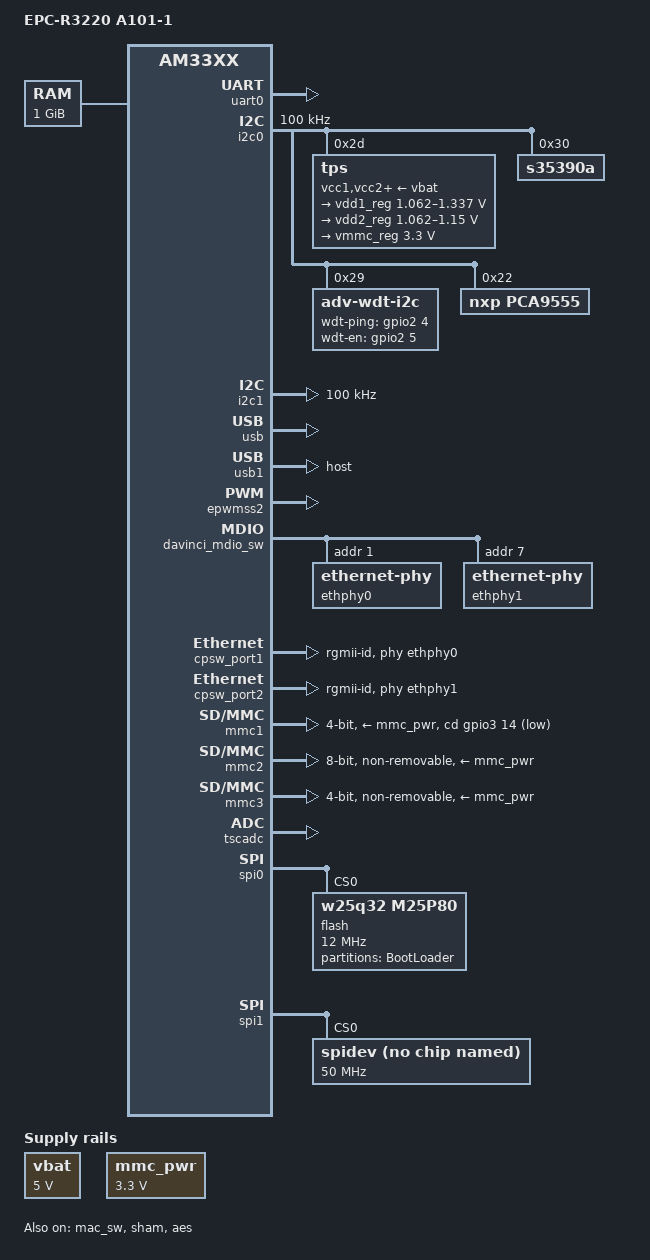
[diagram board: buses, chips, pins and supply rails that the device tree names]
// SPDX-License-Identifier: GPL-2.0-only
/* EPC-R3220 Based AM335x Starter Kit */

/dts-v1/;

#include "am33xx.dtsi"
#include <dt-bindings/pwm/pwm.h>
#include <dt-bindings/interrupt-controller/irq.h>

/ {
	model = "EPC-R3220 A101-1";
	compatible = "ti,am335x-evmsk", "ti,am33xx";

	cpus {
		cpu@0 {
			cpu0-supply = <&vdd1_reg>;
		};
	};

	memory@80000000 {
		device_type = "memory";
		reg = <0x80000000 0x40000000>; /*2 * 256 MB */
	};

	aliases {
		serial0 = &uart0;
	};

	chosen {
		stdout-path = &uart0;
	};

	vbat: fixedregulator0 {
		compatible = "regulator-fixed";
		regulator-name = "vbat";
		regulator-min-microvolt = <5000000>;
		regulator-max-microvolt = <5000000>;
		regulator-boot-on;
	};

	mmc_pwr: fixedregulator3 {
		compatible = "regulator-fixed";
		regulator-name = "mmc_pwr";
		regulator-min-microvolt = <3300000>;
		regulator-max-microvolt = <3300000>;
		regulator-always-on;
		regulator-boot-on;
	};
};

&am33xx_pinmux {
	pinctrl-names = "default";
	pinctrl-0 = <&wdt_pins_default>;

	lcd_pins_default: lcd_pins_default {
		pinctrl-single,pins = <
			AM33XX_PADCONF(AM335X_PIN_GPMC_AD8, PIN_OUTPUT, MUX_MODE1)	/* gpmc_ad8.lcd_data23 */
			AM33XX_PADCONF(AM335X_PIN_GPMC_AD9, PIN_OUTPUT, MUX_MODE1)	/* gpmc_ad9.lcd_data22 */
			AM33XX_PADCONF(AM335X_PIN_GPMC_AD10, PIN_OUTPUT, MUX_MODE1)	/* gpmc_ad10.lcd_data21 */
			AM33XX_PADCONF(AM335X_PIN_GPMC_AD11, PIN_OUTPUT, MUX_MODE1)	/* gpmc_ad11.lcd_data20 */
			AM33XX_PADCONF(AM335X_PIN_GPMC_AD12, PIN_OUTPUT, MUX_MODE1)	/* gpmc_ad12.lcd_data19 */
			AM33XX_PADCONF(AM335X_PIN_GPMC_AD13, PIN_OUTPUT, MUX_MODE1)	/* gpmc_ad13.lcd_data18 */
			AM33XX_PADCONF(AM335X_PIN_GPMC_AD14, PIN_OUTPUT, MUX_MODE1)	/* gpmc_ad14.lcd_data17 */
			AM33XX_PADCONF(AM335X_PIN_GPMC_AD15, PIN_OUTPUT, MUX_MODE1)	/* gpmc_ad15.lcd_data16 */
			AM33XX_PADCONF(AM335X_PIN_LCD_DATA0, PIN_OUTPUT, MUX_MODE0)
			AM33XX_PADCONF(AM335X_PIN_LCD_DATA1, PIN_OUTPUT, MUX_MODE0)
			AM33XX_PADCONF(AM335X_PIN_LCD_DATA2, PIN_OUTPUT, MUX_MODE0)
			AM33XX_PADCONF(AM335X_PIN_LCD_DATA3, PIN_OUTPUT, MUX_MODE0)
			AM33XX_PADCONF(AM335X_PIN_LCD_DATA4, PIN_OUTPUT, MUX_MODE0)
			AM33XX_PADCONF(AM335X_PIN_LCD_DATA5, PIN_OUTPUT, MUX_MODE0)
			AM33XX_PADCONF(AM335X_PIN_LCD_DATA6, PIN_OUTPUT, MUX_MODE0)
			AM33XX_PADCONF(AM335X_PIN_LCD_DATA7, PIN_OUTPUT, MUX_MODE0)
			AM33XX_PADCONF(AM335X_PIN_LCD_DATA8, PIN_OUTPUT, MUX_MODE0)
			AM33XX_PADCONF(AM335X_PIN_LCD_DATA9, PIN_OUTPUT, MUX_MODE0)
			AM33XX_PADCONF(AM335X_PIN_LCD_DATA10, PIN_OUTPUT, MUX_MODE0)
			AM33XX_PADCONF(AM335X_PIN_LCD_DATA11, PIN_OUTPUT, MUX_MODE0)
			AM33XX_PADCONF(AM335X_PIN_LCD_DATA12, PIN_OUTPUT, MUX_MODE0)
			AM33XX_PADCONF(AM335X_PIN_LCD_DATA13, PIN_OUTPUT, MUX_MODE0)
			AM33XX_PADCONF(AM335X_PIN_LCD_DATA14, PIN_OUTPUT, MUX_MODE0)
			AM33XX_PADCONF(AM335X_PIN_LCD_DATA15, PIN_OUTPUT, MUX_MODE0)
			AM33XX_PADCONF(AM335X_PIN_LCD_VSYNC, PIN_OUTPUT, MUX_MODE0)
			AM33XX_PADCONF(AM335X_PIN_LCD_HSYNC, PIN_OUTPUT, MUX_MODE0)
			AM33XX_PADCONF(AM335X_PIN_LCD_PCLK, PIN_OUTPUT, MUX_MODE0)
			AM33XX_PADCONF(AM335X_PIN_LCD_AC_BIAS_EN, PIN_OUTPUT, MUX_MODE0)
		>;
	};

	lcd_pins_sleep: lcd_pins_sleep {
		pinctrl-single,pins = <
			AM33XX_PADCONF(AM335X_PIN_GPMC_AD8, PIN_INPUT_PULLDOWN, MUX_MODE7)	/* gpmc_ad8.lcd_data23 */
			AM33XX_PADCONF(AM335X_PIN_GPMC_AD9, PIN_INPUT_PULLDOWN, MUX_MODE7)	/* gpmc_ad9.lcd_data22 */
			AM33XX_PADCONF(AM335X_PIN_GPMC_AD10, PIN_INPUT_PULLDOWN, MUX_MODE7)	/* gpmc_ad10.lcd_data21 */
			AM33XX_PADCONF(AM335X_PIN_GPMC_AD11, PIN_INPUT_PULLDOWN, MUX_MODE7)	/* gpmc_ad11.lcd_data20 */
			AM33XX_PADCONF(AM335X_PIN_GPMC_AD12, PIN_INPUT_PULLDOWN, MUX_MODE7)	/* gpmc_ad12.lcd_data19 */
			AM33XX_PADCONF(AM335X_PIN_GPMC_AD13, PIN_INPUT_PULLDOWN, MUX_MODE7)	/* gpmc_ad13.lcd_data18 */
			AM33XX_PADCONF(AM335X_PIN_GPMC_AD14, PIN_INPUT_PULLDOWN, MUX_MODE7)	/* gpmc_ad14.lcd_data17 */
			AM33XX_PADCONF(AM335X_PIN_GPMC_AD15, PIN_INPUT_PULLDOWN, MUX_MODE7)	/* gpmc_ad15.lcd_data16 */
			AM33XX_PADCONF(AM335X_PIN_LCD_DATA0, PULL_DISABLE, MUX_MODE7)
			AM33XX_PADCONF(AM335X_PIN_LCD_DATA1, PULL_DISABLE, MUX_MODE7)
			AM33XX_PADCONF(AM335X_PIN_LCD_DATA2, PULL_DISABLE, MUX_MODE7)
			AM33XX_PADCONF(AM335X_PIN_LCD_DATA3, PULL_DISABLE, MUX_MODE7)
			AM33XX_PADCONF(AM335X_PIN_LCD_DATA4, PULL_DISABLE, MUX_MODE7)
			AM33XX_PADCONF(AM335X_PIN_LCD_DATA5, PULL_DISABLE, MUX_MODE7)
			AM33XX_PADCONF(AM335X_PIN_LCD_DATA6, PULL_DISABLE, MUX_MODE7)
			AM33XX_PADCONF(AM335X_PIN_LCD_DATA7, PULL_DISABLE, MUX_MODE7)
			AM33XX_PADCONF(AM335X_PIN_LCD_DATA8, PULL_DISABLE, MUX_MODE7)
			AM33XX_PADCONF(AM335X_PIN_LCD_DATA9, PULL_DISABLE, MUX_MODE7)
			AM33XX_PADCONF(AM335X_PIN_LCD_DATA10, PULL_DISABLE, MUX_MODE7)
			AM33XX_PADCONF(AM335X_PIN_LCD_DATA11, PULL_DISABLE, MUX_MODE7)
			AM33XX_PADCONF(AM335X_PIN_LCD_DATA12, PULL_DISABLE, MUX_MODE7)
			AM33XX_PADCONF(AM335X_PIN_LCD_DATA13, PULL_DISABLE, MUX_MODE7)
			AM33XX_PADCONF(AM335X_PIN_LCD_DATA14, PULL_DISABLE, MUX_MODE7)
			AM33XX_PADCONF(AM335X_PIN_LCD_DATA15, PULL_DISABLE, MUX_MODE7)
			AM33XX_PADCONF(AM335X_PIN_LCD_VSYNC, PIN_INPUT_PULLDOWN, MUX_MODE7)
			AM33XX_PADCONF(AM335X_PIN_LCD_HSYNC, PIN_INPUT_PULLDOWN, MUX_MODE7)
			AM33XX_PADCONF(AM335X_PIN_LCD_PCLK, PIN_INPUT_PULLDOWN, MUX_MODE7)
			AM33XX_PADCONF(AM335X_PIN_LCD_AC_BIAS_EN, PIN_INPUT_PULLDOWN, MUX_MODE7)
		>;
	};


	user_leds_s0: user_leds_s0 {
		pinctrl-single,pins = <
			AM33XX_PADCONF(AM335X_PIN_GPMC_AD4, PIN_OUTPUT_PULLDOWN, MUX_MODE7)	/* gpmc_ad4.gpio1_4 */
			AM33XX_PADCONF(AM335X_PIN_GPMC_AD5, PIN_OUTPUT_PULLDOWN, MUX_MODE7)	/* gpmc_ad5.gpio1_5 */
			AM33XX_PADCONF(AM335X_PIN_GPMC_AD6, PIN_OUTPUT_PULLDOWN, MUX_MODE7)	/* gpmc_ad6.gpio1_6 */
			AM33XX_PADCONF(AM335X_PIN_GPMC_AD7, PIN_OUTPUT_PULLDOWN, MUX_MODE7)	/* gpmc_ad7.gpio1_7 */
		>;
	};

	gpio_keys_s0: gpio_keys_s0 {
		pinctrl-single,pins = <
			AM33XX_PADCONF(AM335X_PIN_GPMC_OEN_REN, PIN_INPUT_PULLDOWN, MUX_MODE7)	/* gpmc_oen_ren.gpio2_3 */
			AM33XX_PADCONF(AM335X_PIN_GPMC_ADVN_ALE, PIN_INPUT_PULLDOWN, MUX_MODE7)	/* gpmc_advn_ale.gpio2_2 */
			AM33XX_PADCONF(AM335X_PIN_GPMC_WAIT0, PIN_INPUT_PULLDOWN, MUX_MODE7)	/* gpmc_wait0.gpio0_30 */
			AM33XX_PADCONF(AM335X_PIN_GPMC_BEN0_CLE, PIN_INPUT_PULLDOWN, MUX_MODE7)	/* gpmc_ben0_cle.gpio2_5 */
		>;
	};

	i2c0_pins: pinmux_i2c0_pins {
		pinctrl-single,pins = <
			AM33XX_PADCONF(AM335X_PIN_I2C0_SDA, PIN_INPUT_PULLUP, MUX_MODE0)
			AM33XX_PADCONF(AM335X_PIN_I2C0_SCL, PIN_INPUT_PULLUP, MUX_MODE0)
		>;
	};

	i2c1_pins: pinmux_i2c1_pins {
		pinctrl-single,pins = <
			AM33XX_PADCONF(AM335X_PIN_UART0_RTSN, PIN_INPUT, MUX_MODE3)/* (E17) uart0_rtsn.I2C1_SCL */
			AM33XX_PADCONF(AM335X_PIN_UART0_CTSN, PIN_INPUT, MUX_MODE3) /*(E18) uart0_ctsn.I2C1_SDA */
		>;
	};

	uart0_pins: pinmux_uart0_pins {
		pinctrl-single,pins = <
			AM33XX_PADCONF(AM335X_PIN_UART0_RXD, PIN_INPUT_PULLUP, MUX_MODE0)
			AM33XX_PADCONF(AM335X_PIN_UART0_TXD, PIN_OUTPUT_PULLDOWN, MUX_MODE0)
		>;
	};

	clkout2_pin: pinmux_clkout2_pin {
		pinctrl-single,pins = <
			AM33XX_PADCONF(AM335X_PIN_XDMA_EVENT_INTR1, PIN_OUTPUT_PULLDOWN, MUX_MODE3)	/* xdma_event_intr1.clkout2 */
		>;
	};

	ecap2_pins: backlight_pins {
		pinctrl-single,pins = <
			AM33XX_PADCONF(AM335X_PIN_MCASP0_AHCLKR, 0x0, MUX_MODE4)	/* mcasp0_ahclkr.ecap2_in_pwm2_out */
		>;
	};

	spi0_pins: pinmux_spi0_pins {
		pinctrl-single,pins = <
			AM33XX_PADCONF(AM335X_PIN_SPI0_SCLK, PIN_INPUT_PULLUP, MUX_MODE0)          /* sspi0_sclk.spi0_sclk */
			AM33XX_PADCONF(AM335X_PIN_SPI0_D0, PIN_INPUT_PULLUP, MUX_MODE0)          /* spi0_d0.spi0_d0 */
			AM33XX_PADCONF(AM335X_PIN_SPI0_D1, PIN_OUTPUT_PULLUP, MUX_MODE0)         /* spi0_d1.spi0_d1 */
			AM33XX_PADCONF(AM335X_PIN_SPI0_CS0, PIN_OUTPUT_PULLUP, MUX_MODE0)         /* spi0_cs0.spi0_cs0 */
		>;
	};

	spi1_pins: spi1_pins {
		pinctrl-single,pins = <
			AM33XX_PADCONF(AM335X_PIN_MII1_COL, PIN_INPUT, MUX_MODE2 ) /* (H16) gmii1_col.spi1_sclk */
			AM33XX_PADCONF(AM335X_PIN_MII1_CRS, PIN_INPUT, MUX_MODE2 ) /* (H17) gmii1_crs.spi1_d0 */
			AM33XX_PADCONF(AM335X_PIN_MII1_RX_ER, PIN_INPUT, MUX_MODE2 ) /* (J15) gmii1_rxer.spi1_d1 */
			AM33XX_PADCONF(AM335X_PIN_RMII1_REF_CLK, PIN_INPUT, MUX_MODE2 ) /* (H18) rmii1_refclk.spi1_cs0 */
		>;
	};

	wdt_pins_default: pinmux_wdt_pins_default {
		pinctrl-single,pins = <
			AM33XX_PADCONF(AM335X_PIN_GPMC_BEN0_CLE, PIN_OUTPUT_PULLDOWN, MUX_MODE7 ) /* (T6) gpmc_be0n_cle.gpio2[5] */
			AM33XX_PADCONF(AM335X_PIN_GPMC_WEN, PIN_OUTPUT_PULLDOWN, MUX_MODE7)             /* gpmc_wen.gpio2_4 */
		>;
	};

	cpsw_default: cpsw_default {
		pinctrl-single,pins = <
			/* Slave 1 */
			AM33XX_PADCONF(AM335X_PIN_MII1_TX_EN, PIN_OUTPUT_PULLDOWN, MUX_MODE2)	/* mii1_txen.rgmii1_tctl */
			AM33XX_PADCONF(AM335X_PIN_MII1_RX_DV, PIN_INPUT_PULLDOWN, MUX_MODE2)	/* mii1_rxdv.rgmii1_rctl */
			AM33XX_PADCONF(AM335X_PIN_MII1_TXD3, PIN_OUTPUT_PULLDOWN, MUX_MODE2)	/* mii1_txd3.rgmii1_td3 */
			AM33XX_PADCONF(AM335X_PIN_MII1_TXD2, PIN_OUTPUT_PULLDOWN, MUX_MODE2)	/* mii1_txd2.rgmii1_td2 */
			AM33XX_PADCONF(AM335X_PIN_MII1_TXD1, PIN_OUTPUT_PULLDOWN, MUX_MODE2)	/* mii1_txd1.rgmii1_td1 */
			AM33XX_PADCONF(AM335X_PIN_MII1_TXD0, PIN_OUTPUT_PULLDOWN, MUX_MODE2)	/* mii1_txd0.rgmii1_td0 */
			AM33XX_PADCONF(AM335X_PIN_MII1_TX_CLK, PIN_OUTPUT_PULLDOWN, MUX_MODE2)	/* mii1_txclk.rgmii1_tclk */
			AM33XX_PADCONF(AM335X_PIN_MII1_RX_CLK, PIN_INPUT_PULLDOWN, MUX_MODE2)	/* mii1_rxclk.rgmii1_rclk */
			AM33XX_PADCONF(AM335X_PIN_MII1_RXD3, PIN_INPUT_PULLDOWN, MUX_MODE2)	/* mii1_rxd3.rgmii1_rd3 */
			AM33XX_PADCONF(AM335X_PIN_MII1_RXD2, PIN_INPUT_PULLDOWN, MUX_MODE2)	/* mii1_rxd2.rgmii1_rd2 */
			AM33XX_PADCONF(AM335X_PIN_MII1_RXD1, PIN_INPUT_PULLDOWN, MUX_MODE2)	/* mii1_rxd1.rgmii1_rd1 */
			AM33XX_PADCONF(AM335X_PIN_MII1_RXD0, PIN_INPUT_PULLDOWN, MUX_MODE2)	/* mii1_rxd0.rgmii1_rd0 */

			/* Slave 2 */
			AM33XX_PADCONF(AM335X_PIN_GPMC_A0, PIN_OUTPUT_PULLDOWN, MUX_MODE2)	/* gpmc_a0.rgmii2_tctl */
			AM33XX_PADCONF(AM335X_PIN_GPMC_A1, PIN_INPUT_PULLDOWN, MUX_MODE2)	/* gpmc_a1.rgmii2_rctl */
			AM33XX_PADCONF(AM335X_PIN_GPMC_A2, PIN_OUTPUT_PULLDOWN, MUX_MODE2)	/* gpmc_a2.rgmii2_td3 */
			AM33XX_PADCONF(AM335X_PIN_GPMC_A3, PIN_OUTPUT_PULLDOWN, MUX_MODE2)	/* gpmc_a3.rgmii2_td2 */
			AM33XX_PADCONF(AM335X_PIN_GPMC_A4, PIN_OUTPUT_PULLDOWN, MUX_MODE2)	/* gpmc_a4.rgmii2_td1 */
			AM33XX_PADCONF(AM335X_PIN_GPMC_A5, PIN_OUTPUT_PULLDOWN, MUX_MODE2)	/* gpmc_a5.rgmii2_td0 */
			AM33XX_PADCONF(AM335X_PIN_GPMC_A6, PIN_OUTPUT_PULLDOWN, MUX_MODE2)	/* gpmc_a6.rgmii2_tclk */
			AM33XX_PADCONF(AM335X_PIN_GPMC_A7, PIN_INPUT_PULLDOWN, MUX_MODE2)	/* gpmc_a7.rgmii2_rclk */
			AM33XX_PADCONF(AM335X_PIN_GPMC_A8, PIN_INPUT_PULLDOWN, MUX_MODE2)	/* gpmc_a8.rgmii2_rd3 */
			AM33XX_PADCONF(AM335X_PIN_GPMC_A9, PIN_INPUT_PULLDOWN, MUX_MODE2)	/* gpmc_a9.rgmii2_rd2 */
			AM33XX_PADCONF(AM335X_PIN_GPMC_A10, PIN_INPUT_PULLDOWN, MUX_MODE2)	/* gpmc_a10.rgmii2_rd1 */
			AM33XX_PADCONF(AM335X_PIN_GPMC_A11, PIN_INPUT_PULLDOWN, MUX_MODE2)	/* gpmc_a11.rgmii2_rd0 */
		>;
	};

	cpsw_sleep: cpsw_sleep {
		pinctrl-single,pins = <
			/* Slave 1 reset value */
			AM33XX_PADCONF(AM335X_PIN_MII1_TX_EN, PIN_INPUT_PULLDOWN, MUX_MODE7)
			AM33XX_PADCONF(AM335X_PIN_MII1_RX_DV, PIN_INPUT_PULLDOWN, MUX_MODE7)
			AM33XX_PADCONF(AM335X_PIN_MII1_TXD3, PIN_INPUT_PULLDOWN, MUX_MODE7)
			AM33XX_PADCONF(AM335X_PIN_MII1_TXD2, PIN_INPUT_PULLDOWN, MUX_MODE7)
			AM33XX_PADCONF(AM335X_PIN_MII1_TXD1, PIN_INPUT_PULLDOWN, MUX_MODE7)
			AM33XX_PADCONF(AM335X_PIN_MII1_TXD0, PIN_INPUT_PULLDOWN, MUX_MODE7)
			AM33XX_PADCONF(AM335X_PIN_MII1_TX_CLK, PIN_INPUT_PULLDOWN, MUX_MODE7)
			AM33XX_PADCONF(AM335X_PIN_MII1_RX_CLK, PIN_INPUT_PULLDOWN, MUX_MODE7)
			AM33XX_PADCONF(AM335X_PIN_MII1_RXD3, PIN_INPUT_PULLDOWN, MUX_MODE7)
			AM33XX_PADCONF(AM335X_PIN_MII1_RXD2, PIN_INPUT_PULLDOWN, MUX_MODE7)
			AM33XX_PADCONF(AM335X_PIN_MII1_RXD1, PIN_INPUT_PULLDOWN, MUX_MODE7)
			AM33XX_PADCONF(AM335X_PIN_MII1_RXD0, PIN_INPUT_PULLDOWN, MUX_MODE7)

			/* Slave 2 reset value*/
			AM33XX_PADCONF(AM335X_PIN_GPMC_A0, PIN_INPUT_PULLDOWN, MUX_MODE7)
			AM33XX_PADCONF(AM335X_PIN_GPMC_A1, PIN_INPUT_PULLDOWN, MUX_MODE7)
			AM33XX_PADCONF(AM335X_PIN_GPMC_A2, PIN_INPUT_PULLDOWN, MUX_MODE7)
			AM33XX_PADCONF(AM335X_PIN_GPMC_A3, PIN_INPUT_PULLDOWN, MUX_MODE7)
			AM33XX_PADCONF(AM335X_PIN_GPMC_A4, PIN_INPUT_PULLDOWN, MUX_MODE7)
			AM33XX_PADCONF(AM335X_PIN_GPMC_A5, PIN_INPUT_PULLDOWN, MUX_MODE7)
			AM33XX_PADCONF(AM335X_PIN_GPMC_A6, PIN_INPUT_PULLDOWN, MUX_MODE7)
			AM33XX_PADCONF(AM335X_PIN_GPMC_A7, PIN_INPUT_PULLDOWN, MUX_MODE7)
			AM33XX_PADCONF(AM335X_PIN_GPMC_A8, PIN_INPUT_PULLDOWN, MUX_MODE7)
			AM33XX_PADCONF(AM335X_PIN_GPMC_A9, PIN_INPUT_PULLDOWN, MUX_MODE7)
			AM33XX_PADCONF(AM335X_PIN_GPMC_A10, PIN_INPUT_PULLDOWN, MUX_MODE7)
			AM33XX_PADCONF(AM335X_PIN_GPMC_A11, PIN_INPUT_PULLDOWN, MUX_MODE7)
		>;
	};

	davinci_mdio_default: davinci_mdio_default {
		pinctrl-single,pins = <
			/* MDIO */
			AM33XX_PADCONF(AM335X_PIN_MDIO, PIN_INPUT_PULLUP | SLEWCTRL_FAST, MUX_MODE0)
			AM33XX_PADCONF(AM335X_PIN_MDC, PIN_OUTPUT_PULLUP, MUX_MODE0)
		>;
	};

	davinci_mdio_sleep: davinci_mdio_sleep {
		pinctrl-single,pins = <
			/* MDIO reset value */
			AM33XX_PADCONF(AM335X_PIN_MDIO, PIN_INPUT_PULLDOWN, MUX_MODE7)
			AM33XX_PADCONF(AM335X_PIN_MDC, PIN_INPUT_PULLDOWN, MUX_MODE7)
		>;
	};

	mmc1_pins: pinmux_mmc1_pins {
		pinctrl-single,pins = <
			AM33XX_PADCONF(AM335X_PIN_MMC0_DAT3, PIN_INPUT_PULLUP, MUX_MODE0)	/* mmc0_dat3.mmc0_dat3 */
			AM33XX_PADCONF(AM335X_PIN_MMC0_DAT2, PIN_INPUT_PULLUP, MUX_MODE0)	/* mmc0_dat2.mmc0_dat2 */
			AM33XX_PADCONF(AM335X_PIN_MMC0_DAT1, PIN_INPUT_PULLUP, MUX_MODE0)	/* mmc0_dat1.mmc0_dat1 */
			AM33XX_PADCONF(AM335X_PIN_MMC0_DAT0, PIN_INPUT_PULLUP, MUX_MODE0)	/* mmc0_dat0.mmc0_dat0 */
			AM33XX_PADCONF(AM335X_PIN_MMC0_CLK, PIN_INPUT_PULLUP, MUX_MODE0)	/* mmc0_clk.mmc0_clk */
			AM33XX_PADCONF(AM335X_PIN_MMC0_CMD, PIN_INPUT_PULLUP, MUX_MODE0)	/* mmc0_cmd.mmc0_cmd */
			AM33XX_PADCONF(AM335X_PIN_MCASP0_ACLKR, PIN_INPUT_PULLUP, MUX_MODE7)	/* mcasp0_aclkr.gpio3_18 */
			AM33XX_PADCONF(AM335X_PIN_MCASP0_ACLKX, PIN_INPUT_PULLUP, MUX_MODE7)	/* mcasp0_aclkx.gpio3_14 */
		>;
	};

	mcasp1_pins: mcasp1_pins {
		pinctrl-single,pins = <
			AM33XX_PADCONF(AM335X_PIN_MII1_CRS, PIN_INPUT_PULLDOWN, MUX_MODE4) /* mii1_crs.mcasp1_aclkx */
			AM33XX_PADCONF(AM335X_PIN_MII1_RX_ER, PIN_INPUT_PULLDOWN, MUX_MODE4) /* mii1_rxerr.mcasp1_fsx */
			AM33XX_PADCONF(AM335X_PIN_MII1_COL, PIN_OUTPUT_PULLDOWN, MUX_MODE4) /* mii1_col.mcasp1_axr2 */
			AM33XX_PADCONF(AM335X_PIN_RMII1_REF_CLK, PIN_INPUT_PULLDOWN, MUX_MODE4) /* rmii1_ref_clk.mcasp1_axr3 */
		>;
	};

	mcasp1_pins_sleep: mcasp1_pins_sleep {
		pinctrl-single,pins = <
			AM33XX_PADCONF(AM335X_PIN_MII1_CRS, PIN_INPUT_PULLDOWN, MUX_MODE7)
			AM33XX_PADCONF(AM335X_PIN_MII1_RX_ER, PIN_INPUT_PULLDOWN, MUX_MODE7)
			AM33XX_PADCONF(AM335X_PIN_MII1_COL, PIN_INPUT_PULLDOWN, MUX_MODE7)
			AM33XX_PADCONF(AM335X_PIN_RMII1_REF_CLK, PIN_INPUT_PULLDOWN, MUX_MODE7)
		>;
	};

	mmc2_pins: pinmux_mmc2_pins {
		pinctrl-single,pins = <
			AM33XX_PADCONF(AM335X_PIN_GPMC_CSN1, PIN_INPUT_PULLUP, MUX_MODE2) /* gpmc_csn1.mmc1_clk */
			AM33XX_PADCONF(AM335X_PIN_GPMC_CSN2, PIN_INPUT_PULLUP, MUX_MODE2) /* gpmc_csn2.mmc1_cmd */
			AM33XX_PADCONF(AM335X_PIN_GPMC_AD0, PIN_INPUT_PULLUP, MUX_MODE1) /* gpmc_ad0.mmc1_dat0 */
			AM33XX_PADCONF(AM335X_PIN_GPMC_AD1, PIN_INPUT_PULLUP, MUX_MODE1) /* gpmc_ad1.mmc1_dat1 */
			AM33XX_PADCONF(AM335X_PIN_GPMC_AD2, PIN_INPUT_PULLUP, MUX_MODE1) /* gpmc_ad2.mmc1_dat2 */
			AM33XX_PADCONF(AM335X_PIN_GPMC_AD3, PIN_INPUT_PULLUP, MUX_MODE1) /* gpmc_ad3.mmc1_dat3 */
			AM33XX_PADCONF(AM335X_PIN_GPMC_AD4, PIN_INPUT_PULLUP, MUX_MODE1) /* gpmc_ad4.mmc1_dat4 */
			AM33XX_PADCONF(AM335X_PIN_GPMC_AD5, PIN_INPUT_PULLUP, MUX_MODE1) /* gpmc_ad5.mmc1_dat5 */
			AM33XX_PADCONF(AM335X_PIN_GPMC_AD6, PIN_INPUT_PULLUP, MUX_MODE1) /* gpmc_ad6.mmc1_dat6 */
			AM33XX_PADCONF(AM335X_PIN_GPMC_AD7, PIN_INPUT_PULLUP, MUX_MODE1) /* gpmc_ad7.mmc1_dat7 */
		>;
	};

	mmc3_pins: mmc3_pins {
		pinctrl-single,pins = <
			AM33XX_PADCONF(AM335X_PIN_GPMC_CLK, PIN_INPUT, MUX_MODE3 ) /* (V12) gpmc_clk.mmc2_clk */
			AM33XX_PADCONF(AM335X_PIN_GPMC_CSN3, PIN_INPUT, MUX_MODE3 ) /* (T13) gpmc_csn3.mmc2_cmd */
			AM33XX_PADCONF(AM335X_PIN_GPMC_AD12, PIN_INPUT, MUX_MODE3 ) /* (T12) gpmc_ad12.mmc2_dat0 */
			AM33XX_PADCONF(AM335X_PIN_GPMC_AD13, PIN_INPUT, MUX_MODE3 ) /* (R12) gpmc_ad13.mmc2_dat1 */
			AM33XX_PADCONF(AM335X_PIN_GPMC_AD14, PIN_INPUT, MUX_MODE3 ) /* (V13) gpmc_ad14.mmc2_dat2 */
			AM33XX_PADCONF(AM335X_PIN_GPMC_AD15, PIN_INPUT, MUX_MODE3 ) /* (U13) gpmc_ad15.mmc2_dat3 */
		>;
	};

	wl12xx_gpio: pinmux_wl12xx_gpio {
		pinctrl-single,pins = <
			AM33XX_PADCONF(AM335X_PIN_GPMC_CSN0, PIN_OUTPUT_PULLUP, MUX_MODE7) /* gpmc_csn0.gpio1_29 */
		>;
	};
};

&uart0 {
	pinctrl-names = "default";
	pinctrl-0 = <&uart0_pins>;

	status = "okay";
};

&i2c0 {
	pinctrl-names = "default";
	pinctrl-0 = <&i2c0_pins>;

	status = "okay";
	clock-frequency = <100000>;

    tps: tps@2d {
		reg = <0x2d>;
	};

	s35390a: s35390a@30 {
		compatible = "s35390a";
		reg = <0x30>;
		status = "okay";
	};

	adv-wdt-i2c@29 {
		compatible = "adv-wdt-i2c";
		status = "okay";
		reg = <0x29>;
		wdt-ping = <&gpio2 4 GPIO_ACTIVE_HIGH>;
		wdt-en = <&gpio2 5 GPIO_ACTIVE_HIGH>;
	};

	pca9555: gpio@22 {
		compatible = "nxp,pca9555";
		reg = <0x22>;
		polarity = <0>;
		default_value = <0 0 0 0 0 0 0 0 1 0 0 1 0 0 0 0>;
		default_direction = <0 0 0 0 0 0 0 0 1 1 1 1 1 1 0 0>;
		export_flag = <1 1 1 1 1 1 0 0 1 1 1 1 1 1 0 0>;
		status = "okay";
	};
};

&i2c1 {
	pinctrl-names = "default";
	pinctrl-0 = <&i2c1_pins>;

	status = "okay";
	clock-frequency = <100000>;
};

/*******
* usb
*******/
&usb {
    status = "okay";
};

&usb1 {
	dr_mode = "host";
};

&epwmss2 {
	status = "okay";

	ecap2: pwm@100 {
		status = "okay";
		pinctrl-names = "default";
		pinctrl-0 = <&ecap2_pins>;
	};
};

#include "tps65910.dtsi"

&tps {
	vcc1-supply = <&vbat>;
	vcc2-supply = <&vbat>;
	vcc3-supply = <&vbat>;
	vcc4-supply = <&vbat>;
	vcc5-supply = <&vbat>;
	vcc6-supply = <&vbat>;
	vcc7-supply = <&vbat>;
	vccio-supply = <&vbat>;

	regulators {
		vrtc_reg: regulator@0 {
			regulator-always-on;
		};

		vio_reg: regulator@1 {
			regulator-always-on;
		};

		vdd1_reg: regulator@2 {
			/* VDD_MPU voltage limits 0.95V - 1.26V with +/-4% tolerance */
			regulator-name = "vdd_mpu";
			regulator-min-microvolt = <1062500>;
			regulator-max-microvolt = <1337500>;
			regulator-boot-on;
			regulator-always-on;
		};

		vdd2_reg: regulator@3 {
			/* VDD_CORE voltage limits 0.95V - 1.1V with +/-4% tolerance */
			regulator-name = "vdd_core";
			regulator-min-microvolt = <1062500>;
			regulator-max-microvolt = <1150000>;
			regulator-boot-on;
			regulator-always-on;
		};

		vdd3_reg: regulator@4 {
			regulator-always-on;
		};

		vdig1_reg: regulator@5 {
			regulator-always-on;
		};

		vdig2_reg: regulator@6 {
			regulator-always-on;
		};

		vpll_reg: regulator@7 {
			regulator-always-on;
		};

		vdac_reg: regulator@8 {
			regulator-always-on;
		};

		vaux1_reg: regulator@9 {
			regulator-always-on;
		};

		vaux2_reg: regulator@10 {
			regulator-always-on;
		};

		vaux33_reg: regulator@11 {
			regulator-always-on;
		};

		vmmc_reg: regulator@12 {
			regulator-min-microvolt = <3300000>;
			regulator-max-microvolt = <3300000>;
			regulator-always-on;
		};
	};
};

/*
* Ethernet:
* dual mac.
*/
&mac_sw {
	pinctrl-names = "default", "sleep";
	pinctrl-0 = <&cpsw_default>;
	pinctrl-1 = <&cpsw_sleep>;
	dual_emac;
	status = "okay";
};
&davinci_mdio_sw {
	pinctrl-names = "default", "sleep";
	pinctrl-0 = <&davinci_mdio_default>;
	pinctrl-1 = <&davinci_mdio_sleep>;

	ethphy0: ethernet-phy@1 {
		reg = <1>;
	};
	ethphy1: ethernet-phy@7 {
		reg = <7>;
	};
};
&cpsw_port1 {
	phy-handle = <&ethphy0>;
	phy-mode = "rgmii-id";
	ti,dual-emac-pvid = <2>;
};
&cpsw_port2 {
	phy-handle = <&ethphy1>;
	phy-mode = "rgmii-id";
	ti,dual-emac-pvid = <3>;
};

&sham {
	status = "okay";
};

&aes {
	status = "okay";
};

&gpio0_target {
	ti,no-reset-on-init;
};

/************
*  eMMC 
************/
/* SDCard */
&mmc1 {
	status = "okay";
	vmmc-supply = <&mmc_pwr>;
	bus-width = <4>;
    cd-debounce-delay-ms=<5>;
	pinctrl-names = "default";
	pinctrl-0 = <&mmc1_pins>;
	cd-gpios = <&gpio3 14 GPIO_ACTIVE_LOW>;
};

/* eMMC flash */
&mmc2 {
	status = "okay";
	vmmc-supply = <&mmc_pwr>;//yanwei
	non-removable;
	bus-width = <8>;
	cap-power-off-card;
	pinctrl-names = "default";
	pinctrl-0 = <&mmc2_pins>;
};

/* SDIO */
&mmc3 {
	/* these are on the crossbar and are outlined in the
	   xbar-event-map element */
	dmas = <&edma_xbar 12 0 1
		&edma_xbar 13 0 2>;
	dma-names = "tx", "rx";
	status = "okay";
	vmmc-supply = <&mmc_pwr>;
	bus-width = <4>;
	pinctrl-names = "default";
	pinctrl-0 = <&mmc3_pins>;
	non-removable;
	ti,needs-special-hs-handling;
	cap-power-off-card;
	keep-power-in-suspend;

	#address-cells = <1>;
	#size-cells = <0>;
/*	wlcore: wlcore@2 {
		compatible = "ti,wl1271";
		reg = <2>;
		interrupt-parent = <&gpio0>;
		interrupts = <31 IRQ_TYPE_EDGE_RISING>;
		ref-clock-frequency = <38400000>;
	};*/
};

&mcasp1 {
	#sound-dai-cells = <0>;
	pinctrl-names = "default", "sleep";
	pinctrl-0 = <&mcasp1_pins>;
	pinctrl-1 = <&mcasp1_pins_sleep>;

	status = "disabled";

	op-mode = <0>;          /* MCASP_IIS_MODE */
	tdm-slots = <2>;
	/* 4 serializers */
	serial-dir = <  /* 0: INACTIVE, 1: TX, 2: RX */
		0 0 1 2
	>;
	tx-num-evt = <32>;
	rx-num-evt = <32>;
};

&tscadc {
	status = "okay";
	tsc {
		ti,wires = <4>;
		ti,x-plate-resistance = <200>;
		ti,coordinate-readouts = <5>;
		ti,wire-config = <0x00 0x11 0x22 0x33>;
	};
};

/* LCD Module. */
&lcdc {
	status = "disabled";
};

&spi0 {
	pinctrl-names = "default";
	pinctrl-0 = <&spi0_pins>;
	status = "okay";

	flash: m25p80@0 {
		compatible = "w25q32,m25p80";
		spi-max-frequency = <12000000>;
		reg = <0>;
		#address-cells = <1>;
		#size-cells = <1>;

		/* MTD partition table.*/
		partition@0 {
		label = "BootLoader";
		reg = <0x00000000 0x00400000>;
		};
	};
};

&spi1 {
	pinctrl-names = "default";
	pinctrl-0 = <&spi1_pins>;
	status = "okay";
	ti,spi-num-cs = <1>;
	ti,pindir-d0-out-d1-in;
	spidev@0{
		compatible = "rohm,dh2228fv";
		reg = <0>;
		spi-max-frequency = <50000000>;
	};
};

/*********************************************** 
* Timer_target:
* timer1_target & timer2_target probe failed
* since it set ti,no-reset-on-init then system
* will use these more earlier.so, it's not a 
* problem about ti-sysc probe failed.
***********************************************/

/**************************************
* PRU-ICSS
* disable it since am3352 has no pru-icss, 
* if enabled, then system will crashing!
**************************************/
&pruss_tm {
	status = "disabled";
};

/**************************************
* 3DGPU
* disable it since am3352 has no sgx.
**************************************/
&gpu_target {
    status = "disabled";
};

/*
* RTC disabled
* we use external RTC s35390a.
*/
&rtc {
    status = "disabled";
};

&gpio2 {
	ti,no-reset-on-init;
};

&gpio3 {
	ti,no-reset-on-init;
};

&wkup_m3_ipc {
	firmware-name = "am335x-evm-scale-data.bin";
};
